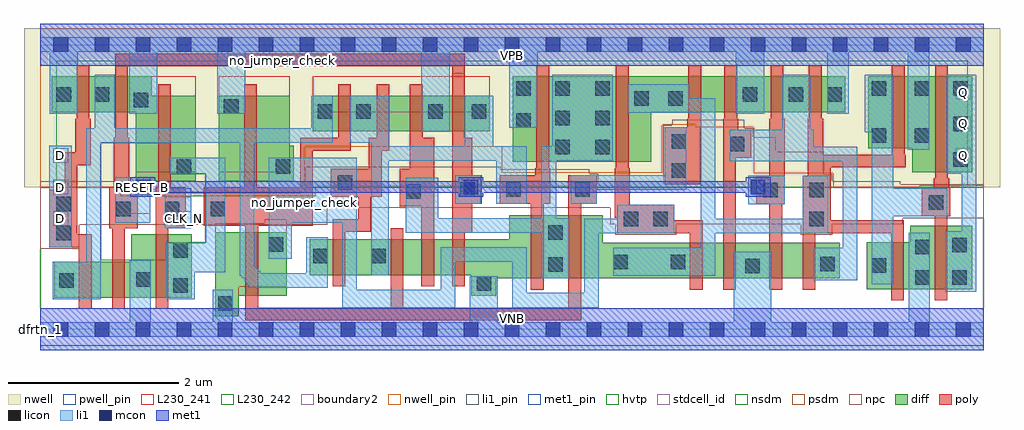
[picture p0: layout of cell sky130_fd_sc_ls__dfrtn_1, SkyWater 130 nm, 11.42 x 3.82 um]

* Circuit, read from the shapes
.subckt sky130_fd_sc_ls__dfrtn_1 CLK_N D Q RESET_B VGND VNB VPB VPWR
XM1 n1 D n2 VNB sky130_fd_pr__nfet_01v8 w=0.42 l=0.15
XM2 VGND RESET_B n1 VNB sky130_fd_pr__nfet_01v8 w=0.42 l=0.15
XM3 n3 CLK_N VGND VNB sky130_fd_pr__nfet_01v8 w=0.74 l=0.15
XM4 n4 n3 VGND VNB sky130_fd_pr__nfet_01v8 w=0.74 l=0.15
XM5 n5 n4 n2 VNB sky130_fd_pr__nfet_01v8 w=0.42 l=0.15
XM6 n6 n3 n5 VNB sky130_fd_pr__nfet_01v8 w=0.42 l=0.15
XM7 n7 n8 n6 VNB sky130_fd_pr__nfet_01v8 w=0.42 l=0.15
XM8 VGND RESET_B n7 VNB sky130_fd_pr__nfet_01v8 w=0.42 l=0.15
XM9 n8 n5 VGND VNB sky130_fd_pr__nfet_01v8 w=0.74 l=0.15
XM10 n9 n3 n8 VNB sky130_fd_pr__nfet_01v8 w=0.74 l=0.15
XM11 n10 n4 n9 VNB sky130_fd_pr__nfet_01v8 w=0.42 l=0.15
XM12 VGND n11 n10 VNB sky130_fd_pr__nfet_01v8 w=0.42 l=0.15
XM13 n12 RESET_B VGND VNB sky130_fd_pr__nfet_01v8 w=0.42 l=0.15
XM14 n11 n9 n12 VNB sky130_fd_pr__nfet_01v8 w=0.42 l=0.15
XM15 VGND n9 n13 VNB sky130_fd_pr__nfet_01v8 w=0.55 l=0.15
XM16 Q n13 VGND VNB sky130_fd_pr__nfet_01v8 w=0.74 l=0.15
XM17 n2 D VPWR VPB sky130_fd_pr__pfet_01v8_hvt w=0.42 l=0.15
XM18 VPWR RESET_B n2 VPB sky130_fd_pr__pfet_01v8_hvt w=0.42 l=0.15
XM19 n3 CLK_N VPWR VPB sky130_fd_pr__pfet_01v8_hvt w=1 l=0.15
XM20 n4 n3 VPWR VPB sky130_fd_pr__pfet_01v8_hvt w=1 l=0.15
XM21 n5 n3 n2 VPB sky130_fd_pr__pfet_01v8_hvt w=0.42 l=0.15
XM22 n14 n4 n5 VPB sky130_fd_pr__pfet_01v8_hvt w=0.42 l=0.15
XM23 VPWR n8 n14 VPB sky130_fd_pr__pfet_01v8_hvt w=0.42 l=0.15
XM24 n5 RESET_B VPWR VPB sky130_fd_pr__pfet_01v8_hvt w=0.42 l=0.15
XM25 n8 n5 VPWR VPB sky130_fd_pr__pfet_01v8_hvt w=1 l=0.15
XM26 n9 n4 n8 VPB sky130_fd_pr__pfet_01v8_hvt w=1 l=0.15
XM27 n15 n3 n9 VPB sky130_fd_pr__pfet_01v8_hvt w=0.42 l=0.15
XM28 VPWR n11 n15 VPB sky130_fd_pr__pfet_01v8_hvt w=0.42 l=0.15
XM29 n11 RESET_B VPWR VPB sky130_fd_pr__pfet_01v8_hvt w=0.42 l=0.15
XM30 VPWR n9 n11 VPB sky130_fd_pr__pfet_01v8_hvt w=0.42 l=0.15
XM31 VPWR n9 n13 VPB sky130_fd_pr__pfet_01v8_hvt w=0.84 l=0.15
XM32 Q n13 VPWR VPB sky130_fd_pr__pfet_01v8_hvt w=1.12 l=0.15
.ends

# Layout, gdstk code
import gdstk
lib = gdstk.Library(unit=1e-6, precision=1e-09)
def R(c, l, rs):  # rectangles x0, y0, x1, y1
    for r in rs: c.add(gdstk.rectangle(r[:2], r[2:], *l))
def A(c, l, x, y, w, h, nx, ny, dx, dy):  # array of equal rectangles
    R(c, l, [(x+i*dx, y+j*dy, x+i*dx+w, y+j*dy+h) for i in range(nx) for j in range(ny)])
def P(c, l, *ps):  # polygons
    for p in ps: c.add(gdstk.Polygon(p, *l))
nwell_pin = (64, 16)
nwell = (64, 20)
diff = (65, 20)
poly = (66, 20)
licon = (66, 44)
li1_pin = (67, 16)
li1 = (67, 20)
mcon = (67, 44)
met1_pin = (68, 16)
met1 = (68, 20)
hvtp = (78, 44)
stdcell_id = (81, 4)
nsdm = (93, 44)
psdm = (94, 20)
npc = (95, 20)
pwell_pin = (122, 16)
L230_241 = (230, 241)
L230_242 = (230, 242)
boundary2 = (236, 0)

sky130_fd_sc_ls__dfrtn_1 = lib.new_cell('sky130_fd_sc_ls__dfrtn_1')
R(sky130_fd_sc_ls__dfrtn_1, nwell_pin, [(0,3.085,11.04,3.33)])
P(sky130_fd_sc_ls__dfrtn_1, nwell, [(11.23,3.52),(-0.19,3.52),(-0.19,1.66),(0.935,1.66),(0.935,1.555),(3.225,1.555),(3.225,1.675),(6.92,1.675),(6.92,1.66),(11.23,1.66)])
R(sky130_fd_sc_ls__dfrtn_1, diff, [(3.19,2.315,5.26,2.735)])
P(sky130_fd_sc_ls__dfrtn_1, diff, [(1.775,1.11),(1.065,1.11),(1.065,0.79),(0.165,0.79),(0.165,0.37),(1.775,0.37)],
  [(10.905,1.21),(10.18,1.21),(10.18,1.02),(9.67,1.02),(9.67,0.47),(10.905,0.47)],
  [(1.82,2.735),(1.305,2.735),(1.305,2.96),(0.135,2.96),(0.135,2.54),(1.115,2.54),(1.115,1.735),(1.82,1.735)],
  [(2.885,1.135),(2.045,1.135),(2.045,0.155),(2.325,0.155),(2.325,0.395),(2.885,0.395)],
  [(2.965,2.145),(2.92,2.145),(2.92,2.735),(2.09,2.735),(2.09,1.735),(2.965,1.735)],
  [(9.355,1.015),(6.58,1.015),(6.58,1.335),(5.49,1.335),(5.49,1.055),(3.155,1.055),(3.155,0.635),(5.045,0.635),(5.045,0.39),(5.335,0.39),(5.335,0.595),(9.355,0.595)],
  [(9.42,2.96),(5.53,2.96),(5.53,1.96),(7.15,1.96),(7.15,2.54),(9.42,2.54)],
  [(10.905,2.96),(9.69,2.96),(9.69,2.12),(10.205,2.12),(10.205,1.84),(10.905,1.84)])
P(sky130_fd_sc_ls__dfrtn_1, poly, [(0.6,1.11),(0.435,1.11),(0.435,1.92),(0.59,1.92),(0.59,2.465),(0.575,2.465),(0.575,3.09),(0.425,3.09),(0.425,2.465),(0.41,2.465),(0.41,2.07),(0.285,2.07),(0.285,1.63),(0.105,1.63),(0.105,0.96),(0.45,0.96),(0.45,0.24),(0.6,0.24)],
  [(1.705,1.66),(1.53,1.66),(1.53,2.865),(1.38,2.865),(1.38,1.66),(1.35,1.66),(1.35,0.24),(1.5,0.24),(1.5,1.185),(1.705,1.185)],
  [(4.085,2.865),(3.935,2.865),(3.935,2.24),(3.845,2.24),(3.845,1.88),(3.4,1.88),(3.4,1.55),(3.72,1.55),(3.72,1.29),(3.42,1.29),(3.42,0.505),(3.57,0.505),(3.57,1.14),(3.87,1.14),(3.87,1.55),(3.995,1.55),(3.995,2.09),(4.085,2.09)],
  [(4.61,2.24),(4.475,2.24),(4.475,2.865),(4.325,2.865),(4.325,1.88),(4.205,1.88),(4.205,1.44),(4.46,1.44),(4.46,0.505),(4.61,0.505)],
  [(10.13,2.045),(10.115,2.045),(10.115,3.09),(9.965,3.09),(9.965,2.045),(9.16,2.045),(9.16,2.465),(9.145,2.465),(9.145,3.09),(8.995,3.09),(8.995,2.465),(8.98,2.465),(8.98,1.795),(8.92,1.795),(8.92,0.465),(9.07,0.465),(9.07,1.125),(9.955,1.125),(9.955,0.34),(10.105,0.34),(10.105,1.275),(9.25,1.275),(9.25,1.895),(10.13,1.895)],
  [(5.165,1.8),(5.055,1.8),(5.055,2.24),(4.97,2.24),(4.97,3.225),(0.875,3.225),(0.875,2.24),(0.86,2.24),(0.86,1.66),(0.81,1.66),(0.81,1.185),(0.84,1.185),(0.84,0.24),(0.99,0.24),(0.99,1.185),(1.14,1.185),(1.14,1.66),(1.04,1.66),(1.04,2.24),(1.025,2.24),(1.025,3.075),(4.82,3.075),(4.82,0.505),(4.97,0.505),(4.97,1.13),(5.055,1.13),(5.055,1.47),(5.165,1.47)],
  [(10.645,1.65),(10.635,1.65),(10.635,1.765),(10.62,1.765),(10.62,3.09),(10.47,3.09),(10.47,1.765),(10.455,1.765),(10.455,1.65),(10.315,1.65),(10.315,1.32),(10.465,1.32),(10.465,0.34),(10.615,0.34),(10.615,1.32),(10.645,1.32)],
  [(5.97,1.885),(5.955,1.885),(5.955,3.09),(5.805,3.09),(5.805,1.885),(5.79,1.885),(5.79,1.8),(5.375,1.8),(5.375,1.47),(5.74,1.47),(5.74,0.465),(5.89,0.465),(5.89,1.47),(5.97,1.47)],
  [(6.51,1.8),(6.18,1.8),(6.18,0.255),(4.25,0.255),(4.25,1.185),(4.1,1.185),(4.1,0.255),(2.55,0.255),(2.55,1.21),(3.19,1.21),(3.19,2.09),(3.635,2.09),(3.635,2.865),(3.485,2.865),(3.485,2.24),(3.04,2.24),(3.04,1.66),(2.535,1.66),(2.535,2.865),(2.385,2.865),(2.385,1.66),(1.915,1.66),(1.915,1.21),(2.4,1.21),(2.4,0.105),(6.33,0.105),(6.33,1.47),(6.51,1.47)],
  [(7.735,3.09),(7.585,3.09),(7.585,2.465),(7.57,2.465),(7.57,2.365),(7.31,2.365),(7.31,1.695),(7.72,1.695),(7.72,2.365),(7.735,2.365)],
  [(8.71,2.465),(8.695,2.465),(8.695,3.09),(8.545,3.09),(8.545,2.465),(8.53,2.465),(8.53,1.795),(8.38,1.795),(8.38,1.465),(8.53,1.465),(8.53,0.465),(8.68,0.465),(8.68,1.465),(8.71,1.465)],
  [(7.75,1.275),(7.42,1.275),(7.42,1.455),(6.9,1.455),(6.9,1.885),(6.885,1.885),(6.885,3.09),(6.735,3.09),(6.735,1.885),(6.72,1.885),(6.72,1.305),(6.75,1.305),(6.75,1.125),(7.6,1.125),(7.6,0.465),(7.75,0.465)],
  [(8.32,2.335),(8.17,2.335),(8.17,2.465),(8.155,2.465),(8.155,3.09),(8.005,3.09),(8.005,2.465),(7.99,2.465),(7.99,0.465),(8.14,0.465),(8.14,2.005),(8.32,2.005)])
A(sky130_fd_sc_ls__dfrtn_1, licon, 10.685, 1.9, 0.17, 0.17, 1, 3, 0, 0.415)
A(sky130_fd_sc_ls__dfrtn_1, licon, 6.025, 2.05, 0.17, 0.17, 1, 3, 0, 0.34)
A(sky130_fd_sc_ls__dfrtn_1, licon, 6.495, 2.05, 0.17, 0.17, 1, 3, 0, 0.34)
R(sky130_fd_sc_ls__dfrtn_1, licon, [(2.085,0.215,2.255,0.385), (1.555,0.43,1.725,0.6), (5.105,0.45,5.275,0.62), (0.225,0.485,0.395,0.655), (1.125,0.495,1.295,0.665), (10.24,0.52,10.41,0.69), (10.67,0.52,10.84,0.69), (8.25,0.655,8.42,0.825), (9.73,0.66,9.9,0.83), (5.945,0.675,6.115,0.845), (9.125,0.68,9.295,0.85), (6.705,0.705,6.875,0.875), (7.375,0.705,7.545,0.875), (3.195,0.77,3.365,0.94), (3.875,0.77,4.045,0.94), (1.555,0.84,1.725,1.01), (10.24,0.88,10.41,1.05), (10.67,0.9,10.84,1.07), (2.675,0.905,2.845,1.075), (0.185,1.04,0.355,1.21), (5.945,1.05,6.115,1.22), (6.83,1.205,7,1.375), (7.17,1.205,7.34,1.375), (9,1.205,9.17,1.375), (0.89,1.325,1.06,1.495), (1.455,1.325,1.625,1.495), (1.995,1.325,2.165,1.495), (0.185,1.38,0.355,1.55), (10.395,1.4,10.565,1.57), (4.285,1.525,4.455,1.695), (8.46,1.545,8.63,1.715), (9,1.545,9.17,1.715), (4.915,1.55,5.085,1.72), (5.455,1.55,5.625,1.72), (6.26,1.55,6.43,1.72), (3.48,1.63,3.65,1.8), (7.39,1.775,7.56,1.945), (1.595,1.82,1.765,1.99), (2.755,1.82,2.925,1.99), (8.07,2.085,8.24,2.255), (7.39,2.115,7.56,2.285), (10.23,2.18,10.4,2.35), (9.73,2.185,9.9,2.355), (5.57,2.36,5.74,2.53), (3.25,2.465,3.42,2.635), (3.7,2.465,3.87,2.635), (4.54,2.465,4.71,2.635), (5.05,2.465,5.22,2.635), (2.15,2.52,2.32,2.69), (1.095,2.6,1.265,2.77), (6.95,2.615,7.12,2.785), (7.35,2.615,7.52,2.785), (0.19,2.665,0.36,2.835), (0.64,2.665,0.81,2.835), (8.22,2.665,8.39,2.835), (8.76,2.665,8.93,2.835), (9.21,2.665,9.38,2.835), (5.57,2.73,5.74,2.9), (9.73,2.73,9.9,2.9), (10.23,2.73,10.4,2.9)])
A(sky130_fd_sc_ls__dfrtn_1, li1_pin, 0.155, 1.21, 0.17, 0.17, 1, 3, 0, 0.37)
A(sky130_fd_sc_ls__dfrtn_1, li1_pin, 10.715, 1.95, 0.17, 0.17, 1, 3, 0, 0.37)
R(sky130_fd_sc_ls__dfrtn_1, li1_pin, [(1.595,1.21,1.765,1.38)])
R(sky130_fd_sc_ls__dfrtn_1, li1, [(0.105,0.96,0.37,2.15), (1.455,1.18,1.765,1.65), (0.88,1.245,1.285,1.78), (8.285,1.465,8.71,1.795), (4.855,1.47,5.155,1.8)])
P(sky130_fd_sc_ls__dfrtn_1, li1, [(10.955,2.98),(10.605,2.98),(10.605,1.82),(10.785,1.82),(10.785,1.15),(10.59,1.15),(10.59,0.44),(10.955,0.44)],
  [(10.615,1.65),(9.98,1.65),(9.98,2.98),(9.65,2.98),(9.65,2.305),(9.73,2.305),(9.73,0.53),(9.98,0.53),(9.98,1.32),(10.615,1.32)],
  [(7.42,1.455),(6.75,1.455),(6.75,1.295),(6.365,1.295),(6.365,0.425),(5.695,0.425),(5.695,0.96),(4.685,0.96),(4.685,0.465),(3.705,0.465),(3.705,2.01),(2.675,2.01),(2.675,0.825),(2.94,0.825),(2.94,1.245),(3.535,1.245),(3.535,0.255),(4.855,0.255),(4.855,0.79),(5.525,0.79),(5.525,0.255),(6.535,0.255),(6.535,1.125),(7.42,1.125)],
  [(6.7,2.98),(5.99,2.98),(5.99,2.14),(5.865,2.14),(5.865,1.3),(4.655,1.3),(4.655,1.775),(4.275,1.775),(4.275,1.13),(5.865,1.13),(5.865,0.595),(6.195,0.595),(6.195,1.3),(6.035,1.3),(6.035,1.97),(6.7,1.97)],
  [(7.56,2.365),(7.31,2.365),(7.31,1.8),(6.205,1.8),(6.205,1.47),(6.51,1.47),(6.51,1.63),(7.56,1.63)],
  [(11.04,3.415),(0,3.415),(0,3.245),(0.11,3.245),(0.11,2.52),(0.44,2.52),(0.44,3.245),(1.04,3.245),(1.04,2.52),(1.37,2.52),(1.37,3.245),(2.07,3.245),(2.07,2.52),(2.4,2.52),(2.4,3.245),(4.46,3.245),(4.46,2.31),(4.79,2.31),(4.79,3.245),(5.49,3.245),(5.49,2.36),(5.82,2.36),(5.82,3.245),(8.14,3.245),(8.14,2.52),(8.47,2.52),(8.47,3.245),(9.21,3.245),(9.21,2.52),(9.46,2.52),(9.46,3.245),(10.15,3.245),(10.15,2.1),(10.4,2.1),(10.4,3.245),(11.04,3.245)],
  [(2.165,2.01),(1.515,2.01),(1.515,1.82),(1.935,1.82),(1.935,1.01),(1.475,1.01),(1.475,0.35),(1.805,0.35),(1.805,0.665),(2.165,0.665)],
  [(9.22,1.795),(8.92,1.795),(8.92,1.295),(7.9,1.295),(7.9,2.705),(7.6,2.705),(7.6,2.865),(6.87,2.865),(6.87,2.535),(7.73,2.535),(7.73,0.955),(6.705,0.955),(6.705,0.625),(7.9,0.625),(7.9,1.125),(9.22,1.125)],
  [(9.56,2.135),(9.05,2.135),(9.05,2.335),(9.01,2.335),(9.01,2.98),(8.68,2.98),(8.68,2.335),(8.07,2.335),(8.07,1.965),(9.39,1.965),(9.39,0.955),(9.045,0.955),(9.045,0.575),(9.56,0.575)],
  [(5.695,2.14),(5.3,2.14),(5.3,2.735),(4.97,2.735),(4.97,2.14),(4.075,2.14),(4.075,2.735),(3.62,2.735),(3.62,2.18),(3.875,2.18),(3.875,0.635),(4.075,0.635),(4.075,1.97),(5.335,1.97),(5.335,1.47),(5.695,1.47)],
  [(11.04,0.085),(10.41,0.085),(10.41,1.13),(10.16,1.13),(10.16,0.085),(8.555,0.085),(8.555,0.905),(8.115,0.905),(8.115,0.085),(5.355,0.085),(5.355,0.62),(5.025,0.62),(5.025,0.085),(2.255,0.085),(2.255,0.465),(2.02,0.465),(2.02,0.085),(1.295,0.085),(1.295,0.81),(1.045,0.81),(1.045,0.085),(0,0.085),(0,-0.085),(11.04,-0.085)],
  [(3.42,2.735),(3.17,2.735),(3.17,2.35),(0.87,2.35),(0.87,2.98),(0.64,2.98),(0.64,2.35),(0.54,2.35),(0.54,0.79),(0.145,0.79),(0.145,0.35),(0.71,0.35),(0.71,2.18),(2.335,2.18),(2.335,0.625),(2.355,0.625),(2.355,0.605),(2.37,0.605),(2.37,0.595),(2.395,0.595),(2.395,0.565),(2.41,0.565),(2.41,0.545),(2.415,0.545),(2.415,0.525),(2.44,0.525),(2.44,0.485),(3.365,0.485),(3.365,1.075),(3.115,1.075),(3.115,0.655),(2.575,0.655),(2.575,0.685),(2.55,0.685),(2.55,0.705),(2.535,0.705),(2.535,0.725),(2.505,0.725),(2.505,2.18),(3.42,2.18)])
A(sky130_fd_sc_ls__dfrtn_1, mcon, 0.155, -0.085, 0.17, 0.17, 23, 2, 0.48, 3.33)
R(sky130_fd_sc_ls__dfrtn_1, mcon, [(1.115,1.58,1.285,1.75), (4.955,1.58,5.125,1.75), (8.315,1.58,8.485,1.75)])
R(sky130_fd_sc_ls__dfrtn_1, met1_pin, [(0,0,11.04,0.245), (1.115,1.58,1.285,1.75), (0,3.085,11.04,3.33)])
R(sky130_fd_sc_ls__dfrtn_1, met1, [(0,-0.245,11.04,0.245), (0,3.085,11.04,3.575)])
P(sky130_fd_sc_ls__dfrtn_1, met1, [(8.545,1.78),(8.255,1.78),(8.255,1.735),(5.185,1.735),(5.185,1.78),(4.895,1.78),(4.895,1.735),(1.345,1.735),(1.345,1.78),(1.055,1.78),(1.055,1.55),(1.345,1.55),(1.345,1.595),(4.895,1.595),(4.895,1.55),(5.185,1.55),(5.185,1.595),(8.255,1.595),(8.255,1.55),(8.545,1.55)])
P(sky130_fd_sc_ls__dfrtn_1, hvtp, [(10.85,3.14),(0.19,3.14),(0.19,1.66),(0.935,1.66),(0.935,1.555),(3.225,1.555),(3.225,1.66),(10.85,1.66)])
R(sky130_fd_sc_ls__dfrtn_1, stdcell_id, [(0,0,11.04,3.33)])
P(sky130_fd_sc_ls__dfrtn_1, nsdm, [(11.04,1.66),(3.095,1.66),(3.095,1.605),(0.985,1.605),(0.985,1.66),(0,1.66),(0,-0.19),(11.04,-0.19)])
P(sky130_fd_sc_ls__dfrtn_1, psdm, [(11.04,3.52),(0,3.52),(0,1.66),(0.985,1.66),(0.985,1.605),(3.095,1.605),(3.095,2.135),(5.4,2.135),(5.4,1.83),(7.28,1.83),(7.28,2.395),(7.67,2.395),(7.67,2.365),(8.35,2.365),(8.35,1.825),(9.28,1.825),(9.28,1.66),(10.285,1.66),(10.285,1.68),(11.04,1.68)])
P(sky130_fd_sc_ls__dfrtn_1, npc, [(11.04,1.7),(10.065,1.7),(10.065,1.73),(9.27,1.73),(9.27,1.815),(9.165,1.815),(9.165,2.08),(8.605,2.08),(8.605,2.25),(8.34,2.25),(8.34,2.355),(8.235,2.355),(8.235,2.45),(7.395,2.45),(7.395,2.385),(7.29,2.385),(7.29,1.73),(6.53,1.73),(6.53,1.82),(6.425,1.82),(6.425,1.87),(5.39,1.87),(5.39,1.9),(3.1,1.9),(3.1,1.73),(3.06,1.73),(3.06,1.595),(0.975,1.595),(0.975,1.73),(0,1.73),(0,0.94),(0.455,0.94),(0.455,1.225),(3.36,1.225),(3.36,1.425),(6.67,1.425),(6.67,1.23),(6.73,1.23),(6.73,1.105),(7.44,1.105),(7.44,1.23),(8.9,1.23),(8.9,1.105),(9.27,1.105),(9.27,1.23),(10.09,1.23),(10.09,1.3),(11.04,1.3)])
R(sky130_fd_sc_ls__dfrtn_1, pwell_pin, [(0,0,11.04,0.245)])
R(sky130_fd_sc_ls__dfrtn_1, L230_241, [(1.455,1.18,1.765,1.55), (0.88,1.35,1.285,1.78), (2.09,1.84,2.92,2.96), (3.19,2.54,5.26,2.96)])
P(sky130_fd_sc_ls__dfrtn_1, L230_241, [(2.885,1.285),(2.625,1.285),(2.625,1.24),(2.045,1.24),(2.045,0.155),(2.325,0.155),(2.325,0.5),(2.885,0.5)],
  [(1.82,2.96),(0.135,2.96),(0.135,2.54),(1.115,2.54),(1.115,1.84),(1.82,1.84)])
P(sky130_fd_sc_ls__dfrtn_1, L230_242, [(4.97,3.225),(0.875,3.225),(0.875,3.075),(4.82,3.075),(4.82,2.99),(4.97,2.99)],
  [(1.935,1.82),(1.515,1.82),(1.515,2.18),(0.71,2.18),(0.71,0.81),(1.475,0.81),(1.475,1.01),(1.935,1.01)])
R(sky130_fd_sc_ls__dfrtn_1, boundary2, [(0,0,11.04,3.33)])
sky130_fd_sc_ls__dfrtn_1.add(gdstk.Label('no_jumper_check', (2.83,3.15), layer=83, texttype=44))
sky130_fd_sc_ls__dfrtn_1.add(gdstk.Label('dfrtn_1', (0,0), layer=83, texttype=44))
sky130_fd_sc_ls__dfrtn_1.add(gdstk.Label('no_jumper_check', (3.095,1.48), layer=83, texttype=44))
sky130_fd_sc_ls__dfrtn_1.add(gdstk.Label('VNB', (5.52,0.123), layer=64, texttype=59))
sky130_fd_sc_ls__dfrtn_1.add(gdstk.Label('VPB', (5.52,3.208), layer=64, texttype=5))
sky130_fd_sc_ls__dfrtn_1.add(gdstk.Label('RESET_B', (1.2,1.665), layer=68, texttype=5))
sky130_fd_sc_ls__dfrtn_1.add(gdstk.Label('VPWR', (5.52,3.208), layer=68, texttype=5))
sky130_fd_sc_ls__dfrtn_1.add(gdstk.Label('VGND', (5.52,0.123), layer=68, texttype=5))
sky130_fd_sc_ls__dfrtn_1.add(gdstk.Label('CLK_N', (1.68,1.295), layer=67, texttype=5))
sky130_fd_sc_ls__dfrtn_1.add(gdstk.Label('Q', (10.8,2.035), layer=67, texttype=5))
sky130_fd_sc_ls__dfrtn_1.add(gdstk.Label('Q', (10.8,2.405), layer=67, texttype=5))
sky130_fd_sc_ls__dfrtn_1.add(gdstk.Label('Q', (10.8,2.775), layer=67, texttype=5))
sky130_fd_sc_ls__dfrtn_1.add(gdstk.Label('D', (0.24,1.295), layer=67, texttype=5))
sky130_fd_sc_ls__dfrtn_1.add(gdstk.Label('D', (0.24,1.665), layer=67, texttype=5))
sky130_fd_sc_ls__dfrtn_1.add(gdstk.Label('D', (0.24,2.035), layer=67, texttype=5))

lib.write_gds('sky130_fd_sc_ls__dfrtn_1.gds')
